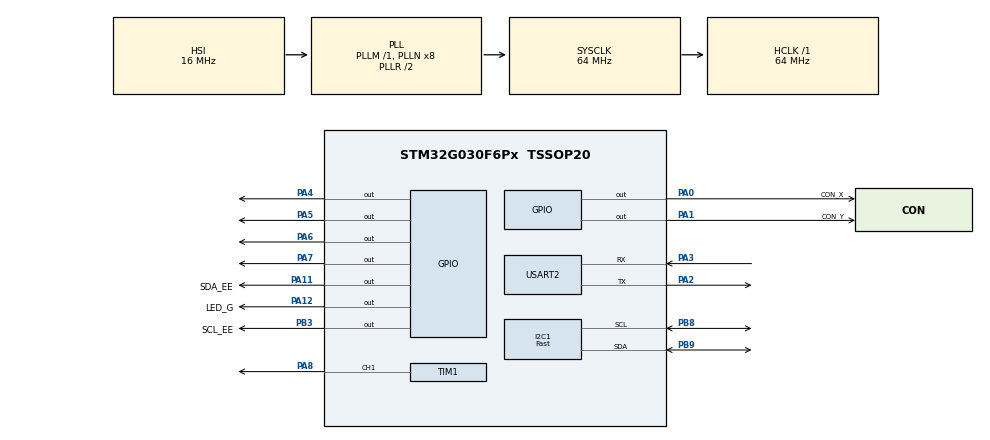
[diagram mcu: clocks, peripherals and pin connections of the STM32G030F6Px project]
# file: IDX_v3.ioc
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Dma.Request0=USART2_TX
Dma.Request1=TIM3_UP
Dma.TIM3_UP.1.Direction=DMA_MEMORY_TO_PERIPH
Dma.TIM3_UP.1.EventEnable=DISABLE
Dma.TIM3_UP.1.Instance=DMA1_Channel2
Dma.TIM3_UP.1.MemDataAlignment=DMA_MDATAALIGN_WORD
Dma.TIM3_UP.1.MemInc=DMA_MINC_ENABLE
Dma.TIM3_UP.1.Mode=DMA_CIRCULAR
Dma.TIM3_UP.1.PeriphDataAlignment=DMA_PDATAALIGN_WORD
Dma.TIM3_UP.1.PeriphInc=DMA_PINC_DISABLE
Dma.TIM3_UP.1.Polarity=HAL_DMAMUX_REQ_GEN_RISING
Dma.TIM3_UP.1.Priority=DMA_PRIORITY_LOW
Dma.TIM3_UP.1.RequestNumber=1
Dma.TIM3_UP.1.SignalID=NONE
Dma.TIM3_UP.1.SyncEnable=DISABLE
Dma.TIM3_UP.1.SyncPolarity=HAL_DMAMUX_SYNC_NO_EVENT
Dma.TIM3_UP.1.SyncRequestNumber=1
Dma.TIM3_UP.1.SyncSignalID=NONE
Dma.USART2_TX.0.Direction=DMA_MEMORY_TO_PERIPH
Dma.USART2_TX.0.EventEnable=DISABLE
Dma.USART2_TX.0.Instance=DMA1_Channel1
Dma.USART2_TX.0.MemDataAlignment=DMA_MDATAALIGN_BYTE
Dma.USART2_TX.0.MemInc=DMA_MINC_ENABLE
Dma.USART2_TX.0.Mode=DMA_NORMAL
Dma.USART2_TX.0.PeriphDataAlignment=DMA_PDATAALIGN_BYTE
Dma.USART2_TX.0.PeriphInc=DMA_PINC_DISABLE
Dma.USART2_TX.0.Polarity=HAL_DMAMUX_REQ_GEN_RISING
Dma.USART2_TX.0.Priority=DMA_PRIORITY_LOW
Dma.USART2_TX.0.RequestNumber=1
Dma.USART2_TX.0.SignalID=NONE
Dma.USART2_TX.0.SyncEnable=DISABLE
Dma.USART2_TX.0.SyncPolarity=HAL_DMAMUX_SYNC_NO_EVENT
Dma.USART2_TX.0.SyncRequestNumber=1
Dma.USART2_TX.0.SyncSignalID=NONE
I2C1.I2C_Speed_Mode=I2C_Fast
I2C1.Timing=0x00C12166
Mcu.Family=STM32G0
Mcu.Name=STM32G030F6Px
Mcu.Package=TSSOP20
NVIC.DMA1_Channel1_IRQn=true\:0\:0\:false\:false\:true\:false\:true\:true
NVIC.DMA1_Channel2_3_IRQn=true\:0\:0\:false\:false\:true\:false\:true\:true
NVIC.USART2_IRQn=true\:0\:0\:false\:false\:true\:true\:true\:true
PA0.GPIO_Label=CON_X
PA0.GPIO_Speed=GPIO_SPEED_FREQ_VERY_HIGH
PA0.Signal=GPIO_Output
PA1.GPIO_Label=CON_Y
PA1.GPIO_Speed=GPIO_SPEED_FREQ_VERY_HIGH
PA1.Signal=GPIO_Output
PA11\ [PA9].GPIO_Label=SDA_EE
PA11\ [PA9].GPIO_ModeDefaultOutputPP=GPIO_MODE_OUTPUT_OD
PA11\ [PA9].GPIO_PuPd=GPIO_NOPULL
PA11\ [PA9].GPIO_Speed=GPIO_SPEED_FREQ_VERY_HIGH
PA11\ [PA9].Signal=GPIO_Output
PA12\ [PA10].GPIO_Label=LED_G
PA12\ [PA10].Signal=GPIO_Output
PA13.Mode=Serial_Wire
PA13.Signal=SYS_SWDIO
PA14-BOOT0.Mode=Serial_Wire
PA14-BOOT0.Signal=SYS_SWCLK
PA14-BOOT0__PA15.StandardMode=true
PA2.Mode=Asynchronous
PA2.Signal=USART2_TX
PA3.Mode=Asynchronous
PA3.Signal=USART2_RX
PA4.Signal=GPIO_Output
PA5.Signal=GPIO_Output
PA6.Signal=GPIO_Output
PA7.Signal=GPIO_Output
PA8.Signal=S_TIM1_CH1
PB0__PB1__PB2__PA8.StandardMode=true
PB3.GPIO_Label=SCL_EE
PB3.GPIO_ModeDefaultOutputPP=GPIO_MODE_OUTPUT_OD
PB3.GPIO_PuPd=GPIO_NOPULL
PB3.GPIO_Speed=GPIO_SPEED_FREQ_VERY_HIGH
PB3.Signal=GPIO_Output
PB3__PB4__PB5__PB6.StandardMode=true
PB7__PB8.StandardMode=true
PB8.Mode=I2C
PB8.Signal=I2C1_SCL
PB9.Mode=I2C
PB9.Signal=I2C1_SDA
PC14-OSC32_IN\ (PC14)__PB9.StandardMode=true
ProjectManager.HeapSize=0x200
ProjectManager.StackSize=0x400
ProjectManager.TargetToolchain=STM32CubeIDE
RCC.ADCFreq_Value=64000000
RCC.AHBFreq_Value=64000000
RCC.CortexFreq_Value=64000000
RCC.EXTERNAL_CLOCK_VALUE=12288000
RCC.HCLKFreq_Value=64000000
RCC.HSE_VALUE=8000000
RCC.HSI_VALUE=16000000
RCC.LSE_VALUE=32768
RCC.SYSCLKFreq_VALUE=64000000
RCC.SYSCLKSource=RCC_SYSCLKSOURCE_PLLCLK
RCC.VCOOutputFreq_Value=128000000
SH.S_TIM1_CH1.0=TIM1_CH1,PWM Generation1 CH1
TIM1.Channel-PWM\ Generation1\ CH1=TIM_CHANNEL_1
TIM1.Period=912-1
TIM1.Pulse-PWM\ Generation1\ CH1=456
TIM1.TIM_MasterOutputTrigger=TIM_TRGO_ENABLE
TIM3.Period=228-1
USART2.VirtualMode-Asynchronous=VM_ASYNC
VP_TIM1_VS_ClockSourceINT.Mode=Internal
VP_TIM3_VS_ClockSourceINT.Mode=Internal
VP_TIM3_VS_ClockSourceITR.Mode=TriggerSource_ITR0
VP_TIM3_VS_ControllerModeTrigger.Mode=Trigger Mode
board=custom

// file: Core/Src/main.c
/* USER CODE BEGIN Header */
/**
  ******************************************************************************
  * @file           : main.c
  * @brief          : Main program body
  ******************************************************************************
  * @attention
  *
  * Copyright (c) 2026 STMicroelectronics.
  * All rights reserved.
  *
  * This software is licensed under terms that can be found in the LICENSE file
  * in the root directory of this software component.
  * If no LICENSE file comes with this software, it is provided AS-IS.
  *
  ******************************************************************************
  */
/* USER CODE END Header */
#include "main.h"
#include "dma.h"
#include "i2c.h"
#include "tim.h"
#include "usart.h"
#include "gpio.h"

/* USER CODE BEGIN Includes */
#include "app_cmd_parser.h" // 引入指令解析器
/* USER CODE END Includes */

/* USER CODE BEGIN PV */
	uint8_t g_rx_byte = 0; // 定义单字节接收缓存

// 强制 1 字节对齐，确保结构体在内存中紧凑排列，总共 10 字节
	#pragma pack(1)
	typedef struct {
		uint8_t  head1;    // 0x5A
		uint8_t  head2;    // 0xA5
		int16_t  data_i;   // I路数据 (16位ADC原始值)
		int16_t  data_q;   // Q路数据
		uint16_t reserved; // 预留位 (目前填0)
		uint8_t  checksum; // 校验和 (前8个字节的累加和)
		uint8_t  tail;     // 0x0D (帧尾)
	} Packet_t;
	#pragma pack()

	// 实例化数据帧，并赋初始固定值
	Packet_t tx_packet = {
		.head1 = 0x5A,
		.head2 = 0xA5,
		.reserved = 0x0000,
		.tail = 0x0D
	};
	//非阻塞状态机变量
	static uint8_t adc_state = 0;
	static uint32_t adc_timer_base = 0;

/* USER CODE END PV */

void SystemClock_Config(void);

/* USER CODE BEGIN 0 */
	SystemCtrl_t g_SysCtrl = {0}; // 真正分配内存并初始化为0

/**
  * @brief  计算 8 位累加校验和
  * @param  data: 数据缓冲区的起始指针
  * @param  len:  参与计算的字节长度
  * @retval 8位无符号校验和
  */
uint8_t Calc_Checksum(uint8_t *data, uint16_t len)
{
    uint8_t sum = 0;
    for (uint16_t i = 0; i < len; i++)
    {
        sum += data[i];
    }
    return sum;
}
/* USER CODE END 0 */

int main(void)
{

  /* MCU Configuration--------------------------------------------------------*/

  /* Reset of all peripherals, Initializes the Flash interface and the Systick. */
  HAL_Init();

  /* Configure the system clock */
  SystemClock_Config();

  /* Initialize all configured peripherals */
  MX_GPIO_Init();
  MX_DMA_Init();
  MX_I2C1_Init();
  MX_USART2_UART_Init();
  MX_TIM1_Init();
  MX_TIM3_Init();
  /* USER CODE BEGIN 2 */

  // 开启第一次串口接收中断，指定接收到 g_rx_byte 中，长度为 1
  HAL_UART_Receive_IT(&huart2, &g_rx_byte, 1);

  // 1. 读取 EEPROM，恢复上次保存的参数 (信道、相位等)
  #if ENABLE_MODULE_EEPROM
  Storage_Init_And_Load(&g_SysCtrl);
  #endif

  // 2. 将系统参数打入硬件 (这句会调用 Hardware_Set_TX_Freq 进行首次发令枪点火)
  Hardware_Apply_Params(&g_SysCtrl);

  adcStartup(); // 一开机，先初始化并复位 ADC
  //  记录时间状态机的零点
    adc_timer_base = HAL_GetTick();

  /* USER CODE END 2 */

  /* Infinite loop */
  /* USER CODE BEGIN WHILE */
    while (1)
      {
          // --- 获取当前时间差 ---
          uint32_t current_time = HAL_GetTick();
          uint32_t elapsed_time = current_time - adc_timer_base;

          // --- 任务1：10ms 实时严格时序采样流 (非阻塞状态机) ---
          switch (adc_state) {
              case 0: // T = 0ms: 触发 I 通道采集
                  if (elapsed_time >= 10) {
                	  // 改为绝对时基累加，消除时间漂移
                	  adc_timer_base += 10;

                      // 【注意】这里必须改为非阻塞的启动函数，不能死等！
                      ADS1115_Start_Conversion(0); // 发送指令让 ADS1115 采通道0
                      adc_state = 1;
                  }
                  break;

              case 1: // T = 3ms: 读 I 通道，并触发 Q 通道采集
                  if (elapsed_time >= 3) {
                      g_SysCtrl.raw_I = ADS1115_Read_Result(); // 此时一定转换完了，直接读

                      ADS1115_Start_Conversion(1); // 立刻发指令采通道1
                      adc_state = 2;
                  }
                  break;

              case 2: // T = 6ms: 读 Q 通道，执行算法，并发送数据
                  if (elapsed_time >= 6) {
                      g_SysCtrl.raw_Q = ADS1115_Read_Result();

                      // --- 开始流水线数据处理 ---
                      #if ENABLE_MODULE_FILTER //滤波
                      SignalProcess_Filter(&g_SysCtrl);
                      #endif

                      SignalProcess_HandleAutoZero(&g_SysCtrl);//归0

                      #if ENABLE_MODULE_ROTATION //旋转坐标
                      SignalProcess_Rotate(&g_SysCtrl);
                      #endif

                      // --- 打包发送 ---
                      tx_packet.data_i = g_SysCtrl.processed_I;
                      tx_packet.data_q = g_SysCtrl.processed_Q;
                      tx_packet.checksum = Calc_Checksum((uint8_t *)&tx_packet, 8);
                      // 增加 DMA 忙碌状态保护
                      if (huart2.gState == HAL_UART_STATE_READY) {
						HAL_UART_Transmit_DMA(&huart2, (uint8_t *)&tx_packet, sizeof(Packet_t));
					}
                   //   HAL_UART_Transmit_DMA(&huart2, (uint8_t *)&tx_packet, sizeof(Packet_t));

                      // --- LED 状态指示 ---
                      Hardware_Update_LED(&g_SysCtrl);

                      adc_state = 0; // 状态归零，等待下一个 10ms 周期到来
                  }
                  break;
          }

          // --- 任务2：非实时指令解析 (后台任务，在 ADC 转换的空闲时间疯狂执行) ---
          if (CmdParser_HasNewCmd()) {
              CmdParser_Execute(&g_SysCtrl);
          }

          // --- 任务3：非实时掉电保存 (后台任务) ---
          #if ENABLE_MODULE_EEPROM
          if (g_SysCtrl.need_save_eeprom) {
              Storage_Save_Params(&g_SysCtrl);
              g_SysCtrl.need_save_eeprom = false;

            // 2. 【核心修复】由于时间轴已经发生了巨大的断层，必须强制重置状态机
			adc_timer_base = HAL_GetTick(); // 重新对齐零点
			adc_state = 0;                  // 强制回到初始状态
          }
          #endif
    /* USER CODE END WHILE */

  }
}

void SystemClock_Config(void)
{
  RCC_OscInitTypeDef RCC_OscInitStruct = {0};
  RCC_ClkInitTypeDef RCC_ClkInitStruct = {0};

  /** Configure the main internal regulator output voltage
  */
  HAL_PWREx_ControlVoltageScaling(PWR_REGULATOR_VOLTAGE_SCALE1);

  /** Initializes the RCC Oscillators according to the specified parameters
  * in the RCC_OscInitTypeDef structure.
  */
  RCC_OscInitStruct.OscillatorType = RCC_OSCILLATORTYPE_HSI;
  RCC_OscInitStruct.HSIState = RCC_HSI_ON;
  RCC_OscInitStruct.HSIDiv = RCC_HSI_DIV1;
  RCC_OscInitStruct.HSICalibrationValue = RCC_HSICALIBRATION_DEFAULT;
  RCC_OscInitStruct.PLL.PLLState = RCC_PLL_ON;
  RCC_OscInitStruct.PLL.PLLSource = RCC_PLLSOURCE_HSI;
  RCC_OscInitStruct.PLL.PLLM = RCC_PLLM_DIV1;
  RCC_OscInitStruct.PLL.PLLN = 8;
  RCC_OscInitStruct.PLL.PLLP = RCC_PLLP_DIV2;
  RCC_OscInitStruct.PLL.PLLR = RCC_PLLR_DIV2;
  if (HAL_RCC_OscConfig(&RCC_OscInitStruct) != HAL_OK)
  {
    Error_Handler();
  }

  /** Initializes the CPU, AHB and APB buses clocks
  */
  RCC_ClkInitStruct.ClockType = RCC_CLOCKTYPE_HCLK|RCC_CLOCKTYPE_SYSCLK
                              |RCC_CLOCKTYPE_PCLK1;
  RCC_ClkInitStruct.SYSCLKSource = RCC_SYSCLKSOURCE_PLLCLK;
  RCC_ClkInitStruct.AHBCLKDivider = RCC_SYSCLK_DIV1;
  RCC_ClkInitStruct.APB1CLKDivider = RCC_HCLK_DIV1;

  if (HAL_RCC_ClockConfig(&RCC_ClkInitStruct, FLASH_LATENCY_2) != HAL_OK)
  {
    Error_Handler();
  }
}

/* USER CODE BEGIN 4 */

/**
  * @brief  串口接收完成回调函数 (由 HAL 库的中断处理函数自动调用)
  */
void HAL_UART_RxCpltCallback(UART_HandleTypeDef *huart)
{
    if (huart->Instance == USART2)
    {
        // 1. 将接收到的这个字节，喂给我们的状态机解析器
        CmdParser_ReceiveByte(g_rx_byte);

        // 2. 必须再次调用此函数，重新开启接收中断，否则以后再也收不到数据了
        HAL_UART_Receive_IT(&huart2, &g_rx_byte, 1);
    }
}
/* USER CODE END 4 */

void Error_Handler(void)
{
  __disable_irq();
  while (1)
  {
  }
}
